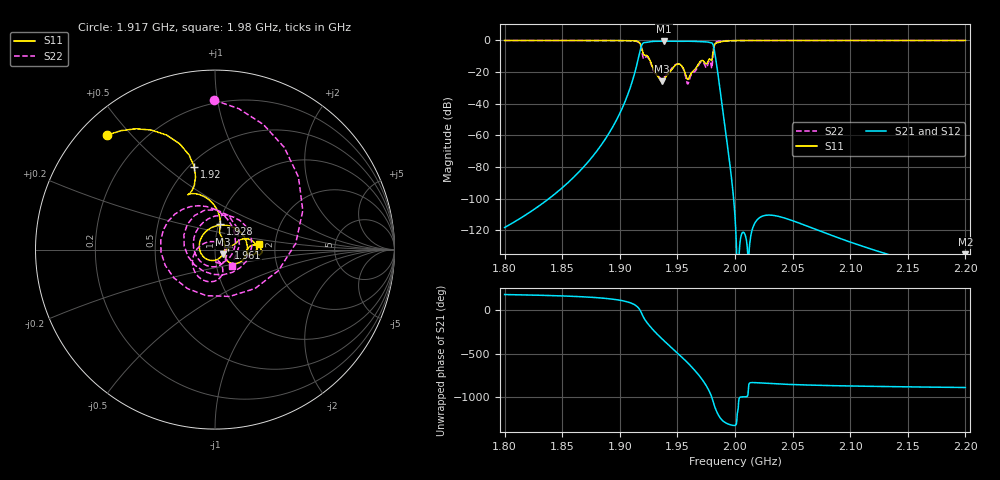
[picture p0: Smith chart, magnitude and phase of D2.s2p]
! Touchstone file exported from HFSS 2023.1.0
!  File:  E:/1.Project/CoxailF/seventhree.aedt
!  Generated:  7:46:03 %x4E0B%x5348  5%x6708 24, 2023
!  Design:  Resonator_out4
!  Project:  seventhree
!  Setup:  Setup1
!  Solution:  Sweep
! Variables:
!  Hin1 = 26mm
!  Hout = 29mm
!  L12 = 15mm
!  L13 = 14.5mm
!  L23 = 6.6mm
!  L34 = 12.3mm
!  L45 = 7.7mm
!  L46 = 2.5mm
!  L56 = 8mm
!  L67 = 12.5mm
!  L78 = 9mm
!  L79 = 9.6mm
!  L89 = 16mm
!  Rin = 5mm
!  Rin2 = 4mm
!  Rout = 15mm
!  Rport = 1.15mm
!  Rport2 = 3mm
!  Rportin = 0.5mm
!  d = 3mm
!  d01 = 2.86mm
!  d02 = 3.42mm
!  d03 = 3.62mm
!  d04 = 3.68mm
!  d05 = 3.68mm
!  d06 = 3.7mm
!  d07 = 3.64mm
!  d08 = 3.54mm
!  d09 = 2.89mm
!  d12 = 18mm
!  d12x = 15.5mm
!  d12y = 25mm
!  d23 = 18mm
!  d34 = 30mm
!  hport = 10.4mm
!  hport2 = 10.4mm
!  lport = 12mm
!  lport2 = 1mm
!  lport_2 = 12mm
!  m = 2mm
!  w12 = 12mm
!  w13 = 10mm
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# GHz S MA R 50.000000
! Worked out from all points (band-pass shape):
!   1001 points, 1.8 GHz to 2.2 GHz, reference 50 ohm
!   highest |S21| = -0.47 dB at 1.938 GHz (marker M1); lowest = -148.0 dB at 2.2 GHz (marker M2)
!   |S21| within 3 dB of the highest: 1.919 GHz to 1.981 GHz (62.45 MHz wide, 3.2 % of centre)
!   lowest |S11| = -25.8 dB at 1.936 GHz (marker M3), VSWR 1.11, Z = 54.6 - j2.8 ohm
!   |S11| at or under -10 dB: 1.924 GHz to 1.98 GHz (56.35 MHz wide, 2.89 % of centre)
!   |S22| runs from -27.5 to 0.0 dB; largest |S21 - S12| = 6.5e-13
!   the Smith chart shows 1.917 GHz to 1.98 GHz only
!   S11 on the Smith chart (normalised r, x): 1.917 GHz: 0.08, +0.43; 1.92 GHz: 0.53, +0.63; 1.928 GHz: 1.02, +0.30; 1.961 GHz: 1.16, +0.03; 1.98 GHz: 1.64, +0.11
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1.8  0.9985 -90.1  1.226e-06 179.0  1.226e-06 179.0  0.9985 -90.3
! Gamma 0.0540132488997378 37.7797502278213 0.0540119020857693 37.7797688448487
! Port Impedance 50 0 50 0
1.8668  0.9963 -114.2  8.546e-05 154.0  8.546e-05 154.0  0.9962 -115.0
1.908  0.9828 -172.3  0.02492 89.4  0.02492 89.4  0.978 177.9
1.9168  0.8754 133.2  0.3528 15.5  0.3528 15.5  0.8335 90.4
1.9196  0.4769 104.1  0.7757 -54.4  0.7757 -54.4  0.3726 -18.3
1.9284  0.1457 78.3  0.9288 142.0  0.9288 142.0  0.1317 31.1
1.9336  0.06855 44.7  0.9436 70.2  0.9436 70.2  0.07327 -82.3
1.9364  0.05153 -29.8  0.9466 34.2  0.9466 34.2  0.06039 -82.7
1.9384  0.05976 -92.1  0.9472 9.3  0.9472 9.3  0.06777 -72.2
1.9476  0.1563 56.0  0.9379 -102.1  0.9379 -102.1  0.1638 -82.3
1.9544  0.1457 -31.5  0.939 175.5  0.939 175.5  0.1403 -153.3
1.9608  0.0749 9.0  0.9429 91.5  0.9429 91.5  0.0645 -13.1
1.9668  0.1462 21.0  0.9285 4.0  0.9285 4.0  0.1267 162.9
1.972  0.2302 -2.6  0.9025 -83.5  0.9025 -83.5  0.2115 16.6
1.9764  0.2126 6.9  0.8869 -176.8  0.8869 -176.8  0.1728 173.3
1.98  0.2461 7.2  0.8324 77.1  0.8324 77.1  0.1312 -45.2
1.984  0.8405 -100.8  0.1738 -78.9  0.1738 -78.9  0.906 107.8
1.9868  0.8847 157.6  0.03217 -147.7  0.03217 -147.7  0.9603 70.2
2  0.9853 18.3  2.74e-06 120.1  2.74e-06 120.1  0.9895 8.8
2.0668  0.9983 -49.0  1.192e-06 -139.0  1.192e-06 -139.0  0.9984 -49.6
2.1336  0.999 -65.7  1.707e-07 -155.7  1.707e-07 -155.7  0.999 -66.0
2.2  0.999 -75.9  3.968e-08 -165.9  3.968e-08 -165.9  0.999 -76.1
